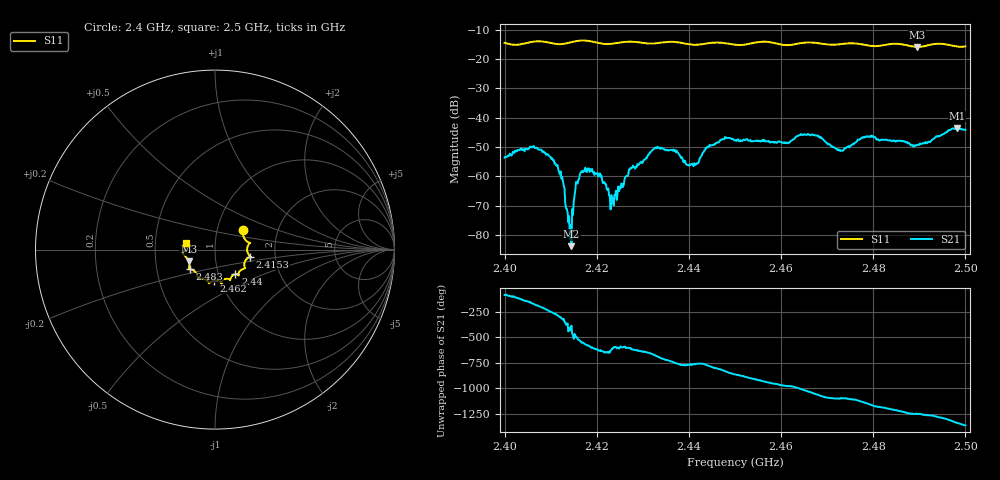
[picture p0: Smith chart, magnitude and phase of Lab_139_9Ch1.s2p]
# Hz S RI R
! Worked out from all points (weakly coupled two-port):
!   601 points, 2.4 GHz to 2.5 GHz, reference 50 ohm
!   highest |S21| = -43.52 dB at 2.4982 GHz (marker M1); lowest = -83.8 dB at 2.4145 GHz (marker M2)
!   lowest |S11| = -15.9 dB at 2.4895 GHz (marker M3), VSWR 1.38, Z = 36.9 - j4.99 ohm
!   |S11| at or under -10 dB: start of sweep to end of sweep
!   S12 and S22 are empty: the file has one direction only
!   S11 on the Smith chart (normalised r, x): 2.4 GHz: 1.33, +0.29; 2.4153 GHz: 1.48, -0.12; 2.44 GHz: 1.20, -0.34; 2.462 GHz: 0.93, -0.33; 2.483 GHz: 0.74, -0.17; 2.5 GHz: 0.72, +0.06
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2.4e9  0.1549 0.1065  0.000102 -0.00208  0 0  0 0
2.405833e9  0.191 0.0385  -0.00301 -0.000855  0 0  0 0
2.409833e9  0.1865 0.0276  -0.000825 0.00199  0 0  0 0
2.412e9  0.1787 -0.00055  0.000626 0.000876  0 0  0 0
2.414e9  0.1873 -0.0276  9.73e-05 -0.000186  0 0  0 0
2.4145e9  0.1908 -0.0327  5.72e-05 -3.05e-05  0 0  0 0
2.415333e9  0.1964 -0.0387  -0.000425 -0.000391  0 0  0 0
2.416667e9  0.2021 -0.0428  -0.00116 0.000314  0 0  0 0
2.4205e9  0.1798 -0.0495  5.86e-05 0.00105  0 0  0 0
2.4235e9  0.1629 -0.082  -0.000133 0.00041  0 0  0 0
2.4275e9  0.1678 -0.1032  -0.000435 0.0013  0 0  0 0
2.433333e9  0.1308 -0.1336  0.0028 0.00127  0 0  0 0
2.44e9  0.1139 -0.1366  0.000939 -0.00119  0 0  0 0
2.45e9  0.0647 -0.1625  -0.00343 -0.00224  0 0  0 0
2.462e9  -0.00516 -0.1732  -0.000542 0.00389  0 0  0 0
2.466667e9  -0.0343 -0.1877  0.00423 0.00299  0 0  0 0
2.473e9  -0.08 -0.1603  0.00264 -0.000816  0 0  0 0
2.483e9  -0.1377 -0.1097  -0.00197 -0.0037  0 0  0 0
2.483333e9  -0.1402 -0.1094  -0.00222 -0.00347  0 0  0 0
2.4895e9  -0.1464 -0.0658  -0.00337 -0.000404  0 0  0 0
2.498167e9  -0.1628 0.00808  -0.00105 0.00658  0 0  0 0
2.5e9  -0.1595 0.0393  0.00179 0.00597  0 0  0 0
